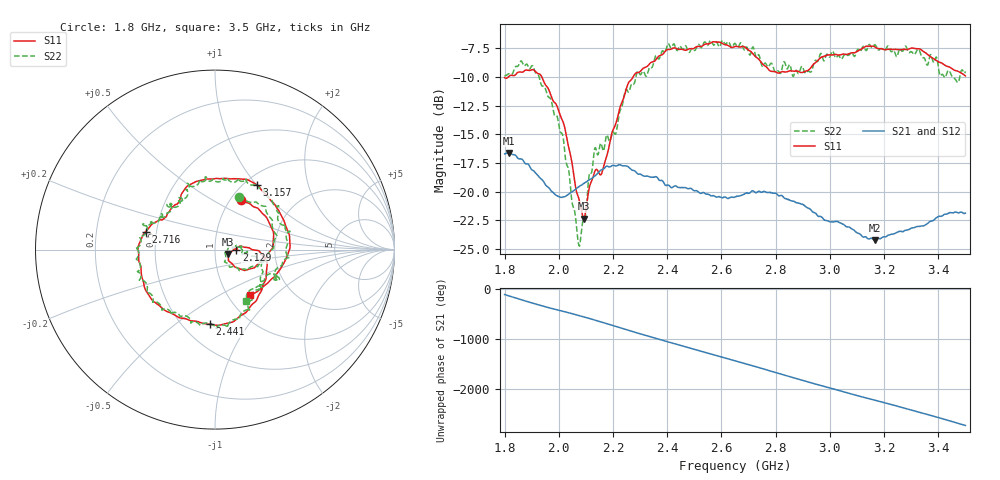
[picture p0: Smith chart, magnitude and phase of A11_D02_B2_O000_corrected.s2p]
! Created with skrf 1.9.0 (http://scikit-rf.org).
# Hz S RI R 50.0
!freq ReS11 ImS11 ReS21 ImS21 ReS12 ImS12 ReS22 ImS22
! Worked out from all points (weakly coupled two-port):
!   1601 points, 1.8 GHz to 3.5 GHz, reference 50 ohm
!   highest |S21| = -16.63 dB at 1.817 GHz (marker M1); lowest = -24.2 dB at 3.165 GHz (marker M2)
!   lowest |S11| = -22.3 dB at 2.092 GHz (marker M3), VSWR 1.17, Z = 57.7 - j2.82 ohm
!   |S11| at or under -10 dB: start of sweep to 1.814 GHz; 1.937 GHz to 2.274 GHz (337.5 MHz wide, 16 % of centre)
!   |S22| runs from -24.7 to -6.8 dB; largest |S21 - S12| = 0.0025
!   S11 on the Smith chart (normalised r, x): 1.8 GHz: 1.12, +0.69; 2.129 GHz: 1.27, -0.01; 2.441 GHz: 0.67, -0.68; 2.716 GHz: 0.44, +0.10; 3.157 GHz: 1.14, +1.01; 3.5 GHz: 1.27, -0.71
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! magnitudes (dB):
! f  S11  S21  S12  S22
! 1.8 GHz  -10.1  -16.7  -16.7  -9.9
! 1.817 GHz  -9.9  -16.6  -16.6  -9.7
! 1.903 GHz  -9.4  -18.1  -18.1  -9.0
! 1.967 GHz  -11.4  -19.7  -19.8  -11.8
! 2.015 GHz  -13.9  -20.5  -20.5  -15.1
! 2.071 GHz  -20.4  -19.6  -19.6  -24.3
! 2.084 GHz  -21.7  -19.4  -19.4  -23.3
! 2.092 GHz  -22.3  -19.3  -19.3  -22.3
! 2.129 GHz  -18.5  -18.7  -18.7  -16.7
! 2.161 GHz  -18.2  -18.1  -18.0  -16.3
! 2.209 GHz  -14.2  -17.8  -17.7  -15.0
! 2.258 GHz  -10.5  -17.9  -17.9  -11.3
! 2.367 GHz  -8.2  -18.9  -18.9  -8.4
! 2.441 GHz  -7.6  -19.6  -19.6  -7.6
! 2.65 GHz  -7.4  -20.4  -20.4  -7.1
! 2.716 GHz  -8.0  -19.9  -19.9  -7.4
! 2.804 GHz  -9.6  -20.2  -20.2  -9.5
! 2.934 GHz  -9.1  -21.7  -21.7  -9.5
! 3.157 GHz  -7.3  -24.1  -24.1  -7.5
! 3.165 GHz  -7.4  -24.2  -24.2  -7.2
! 3.217 GHz  -7.6  -23.8  -23.7  -7.4
! 3.5 GHz  -9.9  -21.9  -21.8  -9.5
